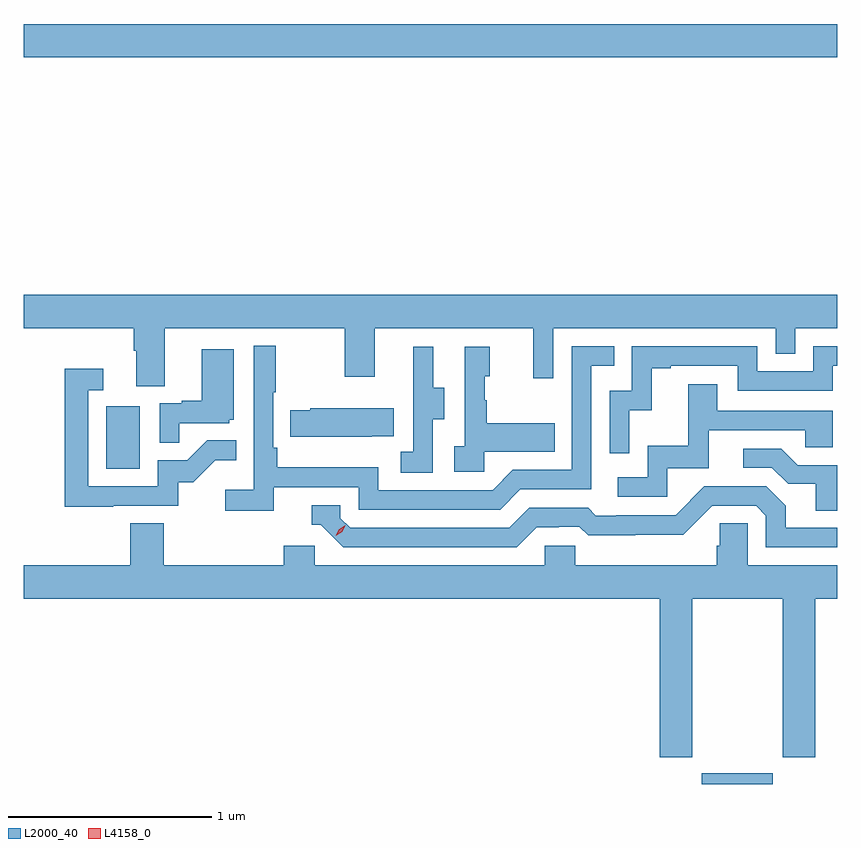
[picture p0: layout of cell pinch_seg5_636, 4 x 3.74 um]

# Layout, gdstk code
import gdstk
lib = gdstk.Library(unit=1e-6, precision=1e-09)
def R(c, l, rs):  # rectangles x0, y0, x1, y1
    for r in rs: c.add(gdstk.rectangle(r[:2], r[2:], *l))
def P(c, l, *ps):  # polygons
    for p in ps: c.add(gdstk.Polygon(p, *l))
L2000_40 = (2000, 40)
L4158_0 = (4158, 0)

pinch_seg5_636 = lib.new_cell('pinch_seg5_636')
R(pinch_seg5_636, L2000_40, [(1056.026,857.181,1056.376,857.233), (1053.098,858.732,1053.262,859.039), (1052.692,860.756,1056.692,860.92)])
P(pinch_seg5_636, L2000_40, [(1053.385,859.424),(1054.27,859.424),(1054.27,859.185),(1054.417,859.185),(1054.417,859.424),(1055.198,859.424),(1055.198,859.176),(1055.295,859.176),(1055.295,859.424),(1056.39,859.424),(1056.39,859.297),(1056.486,859.297),(1056.486,859.424),(1056.692,859.424),(1056.692,859.588),(1052.692,859.588),(1052.692,859.424),(1053.233,859.424),(1053.233,859.312),(1053.245,859.312),(1053.245,859.138),(1053.385,859.138)],
  [(1053.92,858.642),(1054.338,858.642),(1054.338,858.531),(1055.035,858.531),(1055.134,858.63),(1055.484,858.63),(1055.484,859.239),(1055.597,859.239),(1055.597,859.335),(1055.388,859.335),(1055.388,858.726),(1055.097,858.726),(1054.998,858.627),(1054.434,858.627),(1054.434,858.739),(1053.938,858.739),(1053.938,858.835),(1053.918,858.835),(1053.918,859.108),(1053.931,859.108),(1053.931,859.336),(1053.822,859.336),(1053.822,858.628),(1053.681,858.628),(1053.681,858.526),(1053.92,858.526)],
  [(1055.67,859.019),(1055.78,859.019),(1055.78,859.227),(1055.875,859.227),(1055.875,859.239),(1056.204,859.239),(1056.204,859.116),(1056.672,859.116),(1056.672,859.239),(1056.692,859.239),(1056.692,859.335),(1056.576,859.335),(1056.576,859.212),(1056.3,859.212),(1056.3,859.335),(1055.682,859.335),(1055.682,859.116),(1055.574,859.116),(1055.574,858.807),(1055.67,858.807)],
  [(1054.704,858.976),(1054.759,858.976),(1054.759,859.131),(1054.705,859.131),(1054.705,859.333),(1054.607,859.333),(1054.607,859.119),(1054.608,859.119),(1054.608,858.815),(1054.545,858.815),(1054.545,858.712),(1054.704,858.712)],
  [(1054.956,858.815),(1055.303,858.815),(1055.303,858.955),(1054.969,858.955),(1054.969,859.07),(1054.959,859.07),(1054.959,859.188),(1054.984,859.188),(1054.984,859.333),(1054.86,859.333),(1054.86,858.842),(1054.809,858.842),(1054.809,858.717),(1054.956,858.717)],
  [(1053.455,858.957),(1053.702,858.957),(1053.702,858.972),(1053.724,858.972),(1053.724,859.321),(1053.566,859.321),(1053.566,859.066),(1053.467,859.066),(1053.467,859.053),(1053.36,859.053),(1053.36,858.859),(1053.455,858.859)],
  [(1053.131,858.549),(1053.45,858.549),(1053.45,858.666),(1053.526,858.666),(1053.633,858.773),(1053.737,858.773),(1053.737,858.872),(1053.593,858.872),(1053.495,858.774),(1053.351,858.774),(1053.351,858.645),(1053.009,858.645),(1053.009,859.119),(1053.082,859.119),(1053.082,859.225),(1052.893,859.225),(1052.893,858.544),(1053.131,858.544)],
  [(1055.856,858.735),(1056.061,858.735),(1056.061,858.921),(1056.535,858.921),(1056.535,858.837),(1056.672,858.837),(1056.672,859.017),(1056.103,859.017),(1056.103,859.147),(1055.959,859.147),(1055.959,858.844),(1055.76,858.844),(1055.76,858.69),(1055.613,858.69),(1055.613,858.594),(1055.856,858.594)],
  [(1054.403,858.893),(1054.511,858.893),(1054.511,859.03),(1054.101,859.03),(1054.101,859.02),(1054.003,859.02),(1054.003,858.89),(1054.403,858.89)],
  [(1056.692,858.75),(1056.499,858.75),(1056.418,858.831),(1056.231,858.831),(1056.231,858.738),(1056.372,858.738),(1056.452,858.658),(1056.587,858.658),(1056.587,858.526),(1056.692,858.526)],
  [(1055.215,858.444),(1055.322,858.444),(1055.322,858.447),(1055.425,858.447),(1055.467,858.405),(1055.7,858.405),(1055.7,858.407),(1055.936,858.407),(1056.078,858.549),(1056.294,858.549),(1056.342,858.501),(1056.342,858.345),(1056.692,858.345),(1056.692,858.441),(1056.439,858.441),(1056.439,858.551),(1056.345,858.645),(1056.039,858.645),(1055.898,858.504),(1055.605,858.504),(1055.605,858.501),(1055.506,858.501),(1055.467,858.54),(1055.178,858.54),(1055.079,858.441),(1054.296,858.441),(1054.248,858.489),(1054.248,858.552),(1054.109,858.552),(1054.109,858.456),(1054.152,858.456),(1054.263,858.345),(1055.116,858.345)],
  [(1055.979,858.092),(1056.424,858.092),(1056.424,857.313),(1056.584,857.313),(1056.584,858.092),(1056.692,858.092),(1056.692,858.256),(1056.252,858.256),(1056.252,858.464),(1056.115,858.464),(1056.115,858.354),(1056.101,858.354),(1056.101,858.256),(1055.403,858.256),(1055.403,858.354),(1055.253,858.354),(1055.253,858.256),(1054.122,858.256),(1054.122,858.354),(1053.971,858.354),(1053.971,858.256),(1053.38,858.256),(1053.38,858.464),(1053.215,858.464),(1053.215,858.256),(1052.692,858.256),(1052.692,858.092),(1055.819,858.092),(1055.819,857.313),(1055.979,857.313)])
P(pinch_seg5_636, L4158_0, [(1054.226,858.402),(1054.226,858.402),(1054.242,858.435),(1054.272,858.454),(1054.273,858.454),(1054.273,858.454),(1054.257,858.421),(1054.226,858.402)])

lib.write_gds('pinch_seg5_636.gds')
